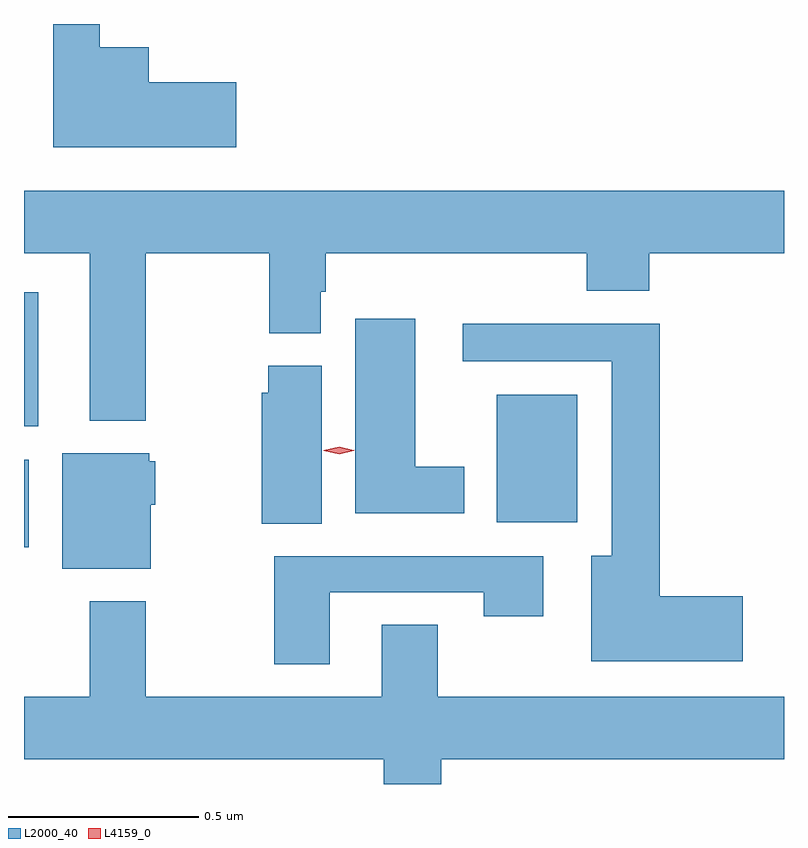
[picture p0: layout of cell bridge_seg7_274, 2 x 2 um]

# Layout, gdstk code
import gdstk
lib = gdstk.Library(unit=1e-6, precision=1e-09)
def R(c, l, rs):  # rectangles x0, y0, x1, y1
    for r in rs: c.add(gdstk.rectangle(r[:2], r[2:], *l))
def P(c, l, *ps):  # polygons
    for p in ps: c.add(gdstk.Polygon(p, *l))
L2000_40 = (2000, 40)
L4159_0 = (4159, 0)

bridge_seg7_274 = lib.new_cell('bridge_seg7_274')
R(bridge_seg7_274, L2000_40, [(147.174,1025.15,147.187,1025.38), (148.418,1025.216,148.63,1025.551), (147.174,1025.468,147.211,1025.821)])
P(bridge_seg7_274, L2000_40, [(147.733,1026.374),(147.502,1026.374),(147.502,1026.466),(147.373,1026.466),(147.373,1026.527),(147.251,1026.527),(147.251,1026.203),(147.733,1026.203)],
  [(147.495,1025.924),(147.82,1025.924),(147.82,1025.713),(147.955,1025.713),(147.955,1025.823),(147.968,1025.823),(147.968,1025.924),(148.655,1025.924),(148.655,1025.825),(148.82,1025.825),(148.82,1025.924),(149.174,1025.924),(149.174,1026.088),(147.174,1026.088),(147.174,1025.924),(147.347,1025.924),(147.347,1025.483),(147.495,1025.483)],
  [(148.333,1025.362),(148.204,1025.362),(148.204,1025.752),(148.046,1025.752),(148.046,1025.24),(148.333,1025.24)],
  [(149.065,1025.021),(148.847,1025.021),(148.847,1025.738),(148.329,1025.738),(148.329,1025.64),(148.721,1025.64),(148.721,1025.128),(148.667,1025.128),(148.667,1024.85),(149.065,1024.85)],
  [(147.958,1025.628),(147.817,1025.628),(147.817,1025.556),(147.8,1025.556),(147.8,1025.212),(147.958,1025.212)],
  [(147.508,1025.262),(147.52,1025.262),(147.52,1025.376),(147.504,1025.376),(147.504,1025.398),(147.275,1025.398),(147.275,1025.093),(147.508,1025.093)],
  [(147.979,1025.031),(148.384,1025.031),(148.384,1024.968),(148.54,1024.968),(148.54,1025.127),(147.832,1025.127),(147.832,1024.842),(147.979,1024.842)],
  [(148.272,1024.592),(149.174,1024.592),(149.174,1024.756),(148.263,1024.756),(148.263,1024.946),(148.115,1024.946),(148.115,1024.756),(147.495,1024.756),(147.495,1025.008),(147.347,1025.008),(147.347,1024.756),(147.174,1024.756),(147.174,1024.592),(148.121,1024.592),(148.121,1024.527),(148.272,1024.527)])
P(bridge_seg7_274, L4159_0, [(148.003,1025.395),(147.963,1025.404),(147.963,1025.405),(147.963,1025.405),(148.003,1025.415),(148.042,1025.405),(148.043,1025.405),(148.042,1025.404)])

lib.write_gds('bridge_seg7_274.gds')
